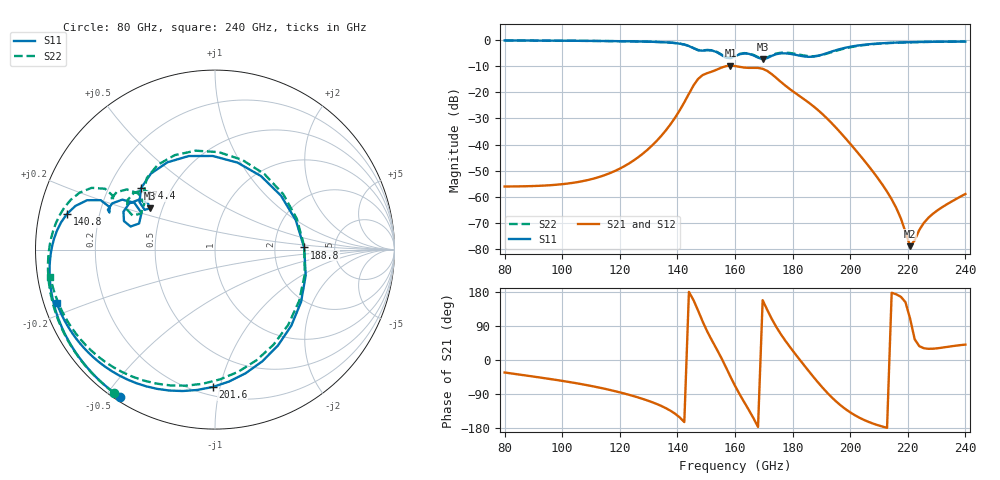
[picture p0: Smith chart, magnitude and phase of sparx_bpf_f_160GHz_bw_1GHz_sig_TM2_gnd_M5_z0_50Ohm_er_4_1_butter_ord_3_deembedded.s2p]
! Created with skrf 2.0.1 (http://scikit-rf.org).
# GHz S DB R 50.0
!freq dBS11 angS11 dBS21 angS21 dBS12 angS12 dBS22 angS22
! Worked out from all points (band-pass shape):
!   101 points, 80 GHz to 240 GHz, reference 50 ohm
!   highest |S21| = -9.82 dB at 158.4 GHz (marker M1); lowest = -78.8 dB at 220.8 GHz (marker M2)
!   |S21| within 3 dB of the highest: 150.1 GHz to 172.4 GHz (22.34 GHz wide, 13.9 % of centre)
!   lowest |S11| = -7.3 dB at 169.6 GHz (marker M3), VSWR 2.51, Z = 21.3 + j12 ohm
!   |S11| at or under -10 dB: nowhere
!   |S22| runs from -7.1 to -0.2 dB; largest |S21 - S12| = 5.9e-13
!   S11 on the Smith chart (normalised r, x): 80 GHz: 0.02, -0.55; 140.8 GHz: 0.08, +0.12; 174.4 GHz: 0.34, +0.32; 188.8 GHz: 2.97, +0.10; 201.6 GHz: 0.26, -0.95; 240 GHz: 0.04, -0.17
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80  -0.21 -122.8  -56.03 -32.9  -56.03 -32.9  -0.21 -125.3
107.2  -0.36 -149.7  -53.96 -64.4  -53.96 -64.4  -0.36 -153.7
121.6  -0.51 -164.6  -48.26 -88.5  -48.26 -88.5  -0.51 -169.4
134.4  -0.84 178.7  -36.67 -121.3  -36.67 -121.3  -0.84 173.4
140.8  -1.43 166.4  -26.90 -151.5  -26.90 -151.5  -1.41 161.0
147.2  -3.97 158.0  -14.88 130.1  -14.88 130.1  -3.86 152.3
150.4  -3.92 159.6  -12.69 74.7  -12.69 74.7  -3.83 153.5
155.2  -5.68 149.9  -10.64 6.3  -10.64 6.3  -5.52 143.8
158.4  -6.99 161.0  -9.82 -43.6  -9.82 -43.6  -6.77 154.1
160  -6.24 164.7  -9.98 -67.9  -9.98 -67.9  -6.07 157.5
166.4  -5.90 146.8  -10.68 -153.4  -10.68 -153.4  -5.73 140.1
169.6  -7.34 147.8  -11.03 157.8  -11.03 157.8  -7.06 140.9
174.4  -5.42 140.2  -14.60 86.4  -14.60 86.4  -5.18 133.6
180.8  -5.65 91.4  -20.20 17.2  -20.20 17.2  -5.30 87.8
187.2  -6.39 20.1  -25.34 -44.3  -25.34 -44.3  -6.24 20.7
188.8  -6.08 1.4  -26.80 -58.9  -26.80 -58.9  -6.07 2.2
195.2  -3.89 -56.7  -33.71 -110.0  -33.71 -110.0  -4.12 -58.4
201.6  -2.32 -91.0  -41.75 -145.6  -41.75 -145.6  -2.49 -95.3
214.4  -1.10 -127.3  -60.92 177.4  -60.92 177.4  -1.16 -134.4
220.8  -0.87 -138.4  -78.84 109.2  -78.84 109.2  -0.91 -146.3
227.2  -0.74 -147.2  -67.94 29.5  -67.94 29.5  -0.76 -155.8
240  -0.62 -161.2  -58.88 40.7  -58.88 40.7  -0.63 -170.6
